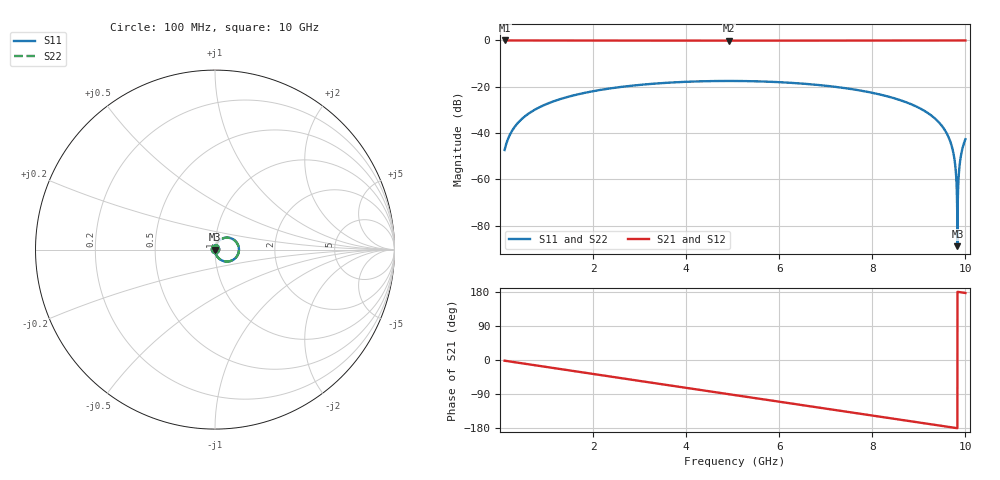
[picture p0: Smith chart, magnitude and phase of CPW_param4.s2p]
! Sonnet Data File
! From: em Version : 19.52.2025
! From Project: CPW
! Data is De-embedded
! Data File Written: 02/24/2026 12:47:39
!< HDATE 02/24/2026 12:38:38
!< MDATE 02/24/2026 12:38:38
!< PARAMS
!< Lk = 0.6000000000000001
!< END PARAMS
# GHZ S MA R 50.00000
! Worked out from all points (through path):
!   4951 points, 100 MHz to 10 GHz, reference 50 ohm
!   highest |S21| = 0.00 dB at 100 MHz (marker M1); lowest = -0.1 dB at 4.92 GHz (marker M2)
!   group delay of S21, straight-line fit = 50.7 ps
!   lowest |S11| = -88.8 dB at 9.828 GHz (marker M3), VSWR 1.00, Z = 50 - j0.00275 ohm
!   |S11| at or under -10 dB: start of sweep to end of sweep
!   |S22| runs from -90.1 to -17.5 dB; largest |S21 - S12| = 1.7e-12
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0.1  0.004307 88.2  1 -1.8  1 -1.8  0.004307 88.2
0.3  0.01291 84.5  0.9999 -5.5  0.9999 -5.5  0.01291 84.5
0.604  0.02586 78.9  0.9997 -11.2  0.9997 -11.2  0.02586 78.9
1.082  0.04566 70.0  0.9989 -20.0  0.9989 -20.0  0.04566 70.0
1.75  0.07137 57.7  0.9974 -32.3  0.9974 -32.3  0.07137 57.7
3.4  0.1185 27.5  0.9929 -62.5  0.9929 -62.5  0.1185 27.5
4.92  0.1335 -0.1  0.991 -90.1  0.991 -90.1  0.1335 -0.1
5.05  0.1334 -2.5  0.991 -92.5  0.991 -92.5  0.1334 -2.5
6.7  0.1126 -32.5  0.9935 -122.5  0.9935 -122.5  0.1126 -32.5
8.35  0.06113 -62.7  0.998 -152.7  0.998 -152.7  0.06113 -62.7
9.05  0.03311 -75.6  0.9993 -165.6  0.9993 -165.6  0.03311 -75.6
9.486  0.01469 -83.6  0.9998 -173.7  0.9998 -173.7  0.01469 -83.6
9.614  0.009216 -85.9  0.9998 -176.0  0.9998 -176.0  0.009216 -85.9
9.704  0.005354 -87.4  0.9998 -177.7  0.9998 -177.7  0.005354 -87.5
9.758  0.003035 -88.2  0.9999 -178.7  0.9999 -178.7  0.003035 -88.4
9.798  0.001317 -88.4  0.9999 -179.4  0.9999 -179.4  0.001317 -88.8
9.828  3.613e-05 -49.6  0.9999 -180.0  0.9999 -180.0  3.139e-05 -61.2
9.862  0.001433 88.5  0.9999 179.4  0.9999 179.4  0.001433 88.8
9.89  0.002636 88.4  0.9999 178.9  0.9999 178.9  0.002636 88.6
9.92  0.003925 88.0  0.9998 178.3  0.9998 178.3  0.003925 88.1
9.96  0.005642 87.4  0.9998 177.6  0.9998 177.6  0.005642 87.4
10  0.007358 86.7  0.9998 176.8  0.9998 176.8  0.007358 86.7
